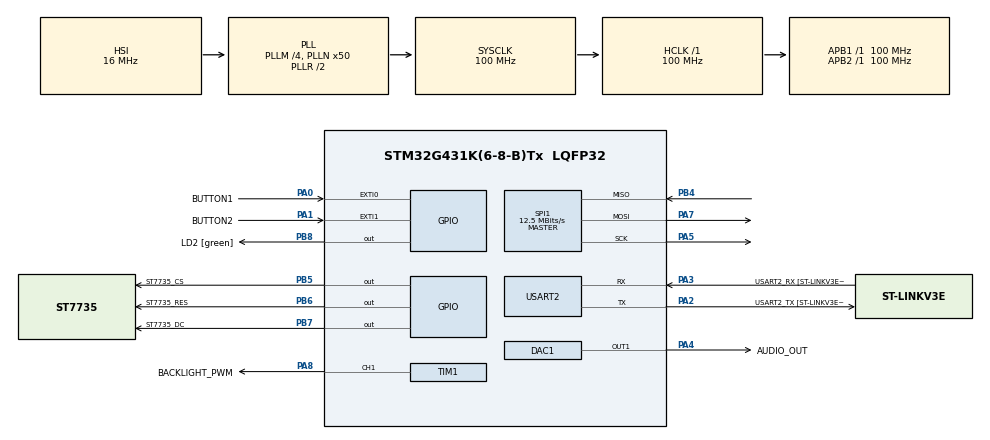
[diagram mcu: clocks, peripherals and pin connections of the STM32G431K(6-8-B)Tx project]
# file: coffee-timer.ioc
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DAC1.DAC_Trigger_OUT1-DAC_OUT1=DAC_TRIGGER_T2_TRGO
Dma.DAC1_CH1.0.Direction=DMA_MEMORY_TO_PERIPH
Dma.DAC1_CH1.0.EventEnable=DISABLE
Dma.DAC1_CH1.0.Instance=DMA1_Channel1
Dma.DAC1_CH1.0.MemDataAlignment=DMA_MDATAALIGN_BYTE
Dma.DAC1_CH1.0.MemInc=DMA_MINC_ENABLE
Dma.DAC1_CH1.0.Mode=DMA_NORMAL
Dma.DAC1_CH1.0.PeriphDataAlignment=DMA_PDATAALIGN_WORD
Dma.DAC1_CH1.0.PeriphInc=DMA_PINC_DISABLE
Dma.DAC1_CH1.0.Polarity=HAL_DMAMUX_REQ_GEN_RISING
Dma.DAC1_CH1.0.Priority=DMA_PRIORITY_LOW
Dma.DAC1_CH1.0.RequestNumber=1
Dma.DAC1_CH1.0.SignalID=NONE
Dma.DAC1_CH1.0.SyncEnable=DISABLE
Dma.DAC1_CH1.0.SyncPolarity=HAL_DMAMUX_SYNC_NO_EVENT
Dma.DAC1_CH1.0.SyncRequestNumber=1
Dma.DAC1_CH1.0.SyncSignalID=NONE
Dma.Request0=DAC1_CH1
Mcu.Family=STM32G4
Mcu.Name=STM32G431K(6-8-B)Tx
Mcu.Package=LQFP32
NVIC.DMA1_Channel1_IRQn=true\:0\:0\:false\:false\:true\:false\:true
NVIC.EXTI0_IRQn=true\:0\:0\:false\:true\:true\:1\:true\:false
NVIC.EXTI1_IRQn=true\:0\:0\:false\:true\:true\:2\:true\:false
NVIC.PriorityGroup=NVIC_PRIORITYGROUP_4
PA0.GPIO_Label=BUTTON1
PA0.GPIO_ModeDefaultEXTI=GPIO_MODE_IT_RISING_FALLING
PA0.GPIO_PuPd=GPIO_PULLDOWN
PA0.Signal=GPXTI0
PA1.GPIO_Label=BUTTON2
PA1.GPIO_ModeDefaultEXTI=GPIO_MODE_IT_RISING_FALLING
PA1.GPIO_PuPd=GPIO_PULLDOWN
PA1.Signal=GPXTI1
PA13.GPIO_Label=T_SWDIO
PA13.Mode=Serial_Wire
PA13.Signal=SYS_JTMS-SWDIO
PA14.GPIO_Label=T_SWCLK
PA14.Mode=Serial_Wire
PA14.Signal=SYS_JTCK-SWCLK
PA2.GPIO_Label=USART2_TX [ST-LINKV3E_VCP_RX]
PA2.Mode=Asynchronous
PA2.Signal=USART2_TX
PA3.GPIO_Label=USART2_RX [ST-LINKV3E_VCP_TX]
PA3.Mode=Asynchronous
PA3.Signal=USART2_RX
PA4.GPIO_Label=AUDIO_OUT
PA4.Signal=COMP_DAC11_group
PA5.GPIO_Speed=GPIO_SPEED_FREQ_HIGH
PA5.Mode=Full_Duplex_Master
PA5.Signal=SPI1_SCK
PA7.GPIO_Speed=GPIO_SPEED_FREQ_HIGH
PA7.Mode=Full_Duplex_Master
PA7.Signal=SPI1_MOSI
PA8.GPIO_Label=BACKLIGHT_PWM
PA8.Signal=S_TIM1_CH1
PB3.GPIO_Label=T_SWO
PB3.Signal=SYS_JTDO-SWO
PB4.GPIO_PuPd=GPIO_PULLDOWN
PB4.GPIO_Speed=GPIO_SPEED_FREQ_HIGH
PB4.Mode=Full_Duplex_Master
PB4.Signal=SPI1_MISO
PB5.GPIO_Label=ST7735_CS
PB5.GPIO_PuPd=GPIO_PULLUP
PB5.Signal=GPIO_Output
PB6.GPIO_Label=ST7735_RES
PB6.GPIO_PuPd=GPIO_PULLUP
PB6.Signal=GPIO_Output
PB7.GPIO_Label=ST7735_DC
PB7.Signal=GPIO_Output
PB8-BOOT0.GPIO_Label=LD2 [green]
PB8-BOOT0.Signal=GPIO_Output
ProjectManager.HeapSize=0x4000
ProjectManager.StackSize=0x400
ProjectManager.TargetToolchain=Makefile
RCC.ADC12Freq_Value=100000000
RCC.AHBFreq_Value=100000000
RCC.APB1Freq_Value=100000000
RCC.APB1TimFreq_Value=100000000
RCC.APB2Freq_Value=100000000
RCC.APB2TimFreq_Value=100000000
RCC.CK48CLockSelection=RCC_USBCLKSOURCE_HSI48
RCC.CortexFreq_Value=100000000
RCC.EXTERNAL_CLOCK_VALUE=12288000
RCC.HCLKFreq_Value=100000000
RCC.HSE_VALUE=8000000
RCC.HSI48_VALUE=48000000
RCC.HSI_VALUE=16000000
RCC.LSE_VALUE=32768
RCC.PLLM=RCC_PLLM_DIV4
RCC.PLLN=50
RCC.SYSCLKFreq_VALUE=100000000
RCC.SYSCLKSource=RCC_SYSCLKSOURCE_PLLCLK
RCC.USBFreq_Value=48000000
RCC.VCOOutputFreq_Value=200000000
SH.COMP_DAC11_group.0=DAC1_OUT1,DAC_OUT1
SH.S_TIM1_CH1.0=TIM1_CH1,PWM Generation1 CH1
SPI1.BaudRatePrescaler=SPI_BAUDRATEPRESCALER_8
SPI1.CRCCalculation=SPI_CRCCALCULATION_DISABLE
SPI1.CalculateBaudRate=12.5 MBits/s
SPI1.DataSize=SPI_DATASIZE_8BIT
SPI1.Direction=SPI_DIRECTION_2LINES
SPI1.Mode=SPI_MODE_MASTER
SPI1.NSSPMode=SPI_NSS_PULSE_DISABLE
SPI1.VirtualType=VM_MASTER
TIM1.Channel-PWM\ Generation1\ CH1=TIM_CHANNEL_1
TIM1.PeriodNoDither=16
TIM1.PulseNoDither_1=8
TIM2.CounterMode=TIM_COUNTERMODE_UP
TIM2.PeriodNoDither=99
TIM2.Prescaler=124
TIM2.TIM_MasterOutputTrigger=TIM_TRGO_UPDATE
USART2.VirtualMode-Asynchronous=VM_ASYNC
USART2.WordLength=WORDLENGTH_8B
VP_RTC_VS_RTC_Activate.Mode=RTC_Enabled
VP_RTC_VS_RTC_Calendar.Mode=RTC_Calendar
VP_SYS_VS_DBSignals.Mode=DisableDeadBatterySignals
VP_TIM1_VS_ClockSourceINT.Mode=Internal
VP_TIM2_VS_ClockSourceINT.Mode=Internal
board=NUCLEO-G431KB

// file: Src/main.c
/* USER CODE BEGIN Header */
/**
  ******************************************************************************
  * @file           : main.c
  * @brief          : Main program body
  ******************************************************************************
  * @attention
  *
  * <h2><center>&copy; Copyright (c) 2020 STMicroelectronics.
  * All rights reserved.</center></h2>
  *
  * This software component is licensed by ST under BSD 3-Clause license,
  * the "License"; You may not use this file except in compliance with the
  * License. You may obtain a copy of the License at:
  *                        opensource.org/licenses/BSD-3-Clause
  *
  ******************************************************************************
  */
/* USER CODE END Header */

#include "main.h"

/* USER CODE BEGIN Includes */

#include <stdio.h>
#include <string.h>
#include "st7735.h"

/* USER CODE END Includes */

DAC_HandleTypeDef hdac1;
DMA_HandleTypeDef hdma_dac1_ch1;

RTC_HandleTypeDef hrtc;

SPI_HandleTypeDef hspi1;

TIM_HandleTypeDef htim1;
TIM_HandleTypeDef htim2;

UART_HandleTypeDef huart2;

/* USER CODE BEGIN PV */

int __io_putchar(int ch)
{
    HAL_UART_Transmit(&huart2, (uint8_t *)&ch, 1, HAL_MAX_DELAY);
    return ch;
}

/* USER CODE END PV */

void SystemClock_Config(void);
static void MX_GPIO_Init(void);
static void MX_USART2_UART_Init(void);
static void MX_DMA_Init(void);
static void MX_DAC1_Init(void);
static void MX_SPI1_Init(void);
static void MX_TIM1_Init(void);
static void MX_TIM2_Init(void);
static void MX_RTC_Init(void);
static void MX_NVIC_Init(void);

/* USER CODE BEGIN 0 */

#define BUTTON_MEASURE_MILLIS 50

int button1_changed = 0;
uint32_t button1_changed_millis = 0;
int button2_changed = 0;
uint32_t button2_changed_millis = 0;

void BUTTON1_IRQ_Callback()
{
    if(!button1_changed) {
        button1_changed = 1;
        button1_changed_millis = HAL_GetTick();
    }
    __HAL_GPIO_EXTI_CLEAR_IT(BUTTON1_Pin);
    NVIC_ClearPendingIRQ(EXTI0_IRQn);
}

void BUTTON2_IRQ_Callback()
{
    if(!button2_changed) {
        button2_changed = 1;
        button2_changed_millis = HAL_GetTick();
    }
    __HAL_GPIO_EXTI_CLEAR_IT(BUTTON2_Pin);
    NVIC_ClearPendingIRQ(EXTI1_IRQn);
}

char printbuffer[128];

void hello()
{
  for(int i = 0; i < 2; i++) {
      for(int j = 0; j < 2000000; j++)
          HAL_GPIO_WritePin(LD2_GPIO_Port, LD2_Pin, GPIO_PIN_SET);
      for(int j = 0; j < 2000000; j++)
          HAL_GPIO_WritePin(LD2_GPIO_Port, LD2_Pin, GPIO_PIN_RESET);
  }
  sprintf(printbuffer, "hello there!\n");
  HAL_UART_Transmit(&huart2, (uint8_t *)printbuffer, strlen(printbuffer), HAL_MAX_DELAY);
}

extern void ButtonPress(int button, uint32_t when);
extern void ButtonRelease(int button, uint32_t when);
extern int ProcessEvents(uint32_t now);
extern void InitPlatform();

int DMAcomplete = 0;
int DACerror = 0;

void HAL_DAC_ConvCpltCallbackCh1(DAC_HandleTypeDef *hdac)
{
    DMAcomplete = 1;
}

void HAL_DAC_ErrorCallbackCh1(DAC_HandleTypeDef *hdac)
{
    DACerror = 1;
}

// It turns out that the destination size must be set to WORD.
// https://community.st.com/s/question/0D50X0000BEXUjVSQX/haldacstartdma-stops-on-start-calling-haldacerrorcallbackch1
void DACPlay(const uint8_t *samples, size_t sampleCount)
{
    HAL_StatusTypeDef status;

    printf("playing audio with HAL_DAC_Start_DMA...\n");
    printf("before DMA1_Channel1->CCR %08lX\n", DMA1_Channel1->CCR);
    printf("before DMA1->ISR %08lX\n", DMA1->ISR);

    status = HAL_DAC_Start_DMA (&hdac1, DAC_CHANNEL_1, (uint32_t*)samples, sampleCount, DAC_ALIGN_8B_R);
    if(status != HAL_OK) {
        printf("HAL_DAC_Start_DMA status %d\n", status);
    }
    // DMA1_Channel1->CCR |= 1;
    // DMA1_Channel1->CCR |= 0x20;
    printf("after DMA1_Channel1->CCR %08lX\n", DMA1_Channel1->CCR);
    printf("after DMA1->ISR %08lX\n", DMA1->ISR);
}

void SysDrawBitmap(int x, int y, const uint8_t* bits, int w, int h, int rowBytes, uint16_t fg, uint16_t bg)
{
    ST7735_DrawImageMonoRB(x, y, bits, w, h, rowBytes, fg, bg);
}

void SysDrawRect(int x, int y, int w, int h, uint16_t color)
{
    ST7735_FillRectangle(x, y, w, h, color);
}

/* USER CODE END 0 */

int main(void)
{

  /* MCU Configuration--------------------------------------------------------*/

  /* Reset of all peripherals, Initializes the Flash interface and the Systick. */
  HAL_Init();

  /* Configure the system clock */
  SystemClock_Config();

  /* Initialize all configured peripherals */
  MX_GPIO_Init();
  MX_USART2_UART_Init();
  MX_DMA_Init();
  MX_DAC1_Init();
  MX_SPI1_Init();
  MX_TIM1_Init();
  MX_TIM2_Init();
  MX_RTC_Init();

  /* Initialize interrupts */
  MX_NVIC_Init();
  /* USER CODE BEGIN 2 */

  ST7735_Init();

  hello();

  HAL_StatusTypeDef status;

  status = HAL_TIM_Base_Start(&htim2);
  if(status != HAL_OK) {
      printf("HAL_TIM_Base_Start status %d\n", status);
  }

  InitPlatform();
  /* USER CODE END 2 */

  /* Infinite loop */
  while (1)
  {

    /* USER CODE BEGIN 3 */
    if(DMAcomplete) {
        printf("DMA was completed.\n");
        DMAcomplete = 0;
    }
    if(DACerror) {
        printf("DAC transfer had error.\n");
        DACerror = 1;
    }
    // printf("%lu\n", DMA1_Channel1->CNDTR);
    // printf("DAC1->CR %08lX\n", DAC1->CR); // verified as expected
    // printf("&DAC1->DHR8R1 %p\n", &DAC1->DHR8R1); // verified as expected
    // printf("DMA1_Channel1->CR %08lX\n", DMA1_Channel1->CCR); // verified as expected is TIMER2_TRGO
    // printf("CPAR %08lX\n", DMA1_Channel1->CPAR); // verified as expected
    // printf("CMAR %08lX\n", DMA1_Channel1->CMAR); // verified as expected
    static uint16_t b = 0;
    // DAC1->DHR8R1 = (b >> 3) & 0xff;
    b++;

    uint32_t now_millis = HAL_GetTick();

    if(0) {
        if((HAL_GPIO_ReadPin(BUTTON1_GPIO_Port, BUTTON1_Pin) != GPIO_PIN_RESET) ||
          (HAL_GPIO_ReadPin(BUTTON2_GPIO_Port, BUTTON2_Pin) != GPIO_PIN_RESET)) {

            HAL_GPIO_WritePin(LD2_GPIO_Port, LD2_Pin, GPIO_PIN_SET);

        } else {

            HAL_GPIO_WritePin(LD2_GPIO_Port, LD2_Pin, GPIO_PIN_RESET);

        }
    }

    if(button1_changed) {
        HAL_GPIO_WritePin(LD2_GPIO_Port, LD2_Pin, GPIO_PIN_SET);
        uint32_t duration = now_millis - button1_changed_millis;

        if(duration > BUTTON_MEASURE_MILLIS) {
            if(HAL_GPIO_ReadPin(BUTTON1_GPIO_Port, BUTTON1_Pin) == GPIO_PIN_SET) {
                ButtonPress(1, button1_changed_millis);
            } else {
                ButtonRelease(1, button1_changed_millis);
            }
            button1_changed = 0;
        }
    }

    if(button2_changed) {
        HAL_GPIO_WritePin(LD2_GPIO_Port, LD2_Pin, GPIO_PIN_SET);
        uint32_t duration = now_millis - button2_changed_millis;

        if(duration > BUTTON_MEASURE_MILLIS) {
            if(HAL_GPIO_ReadPin(BUTTON2_GPIO_Port, BUTTON2_Pin) == GPIO_PIN_SET) {
                ButtonPress(2, button2_changed_millis);
            } else {
                ButtonRelease(2, button2_changed_millis);
            }
            button2_changed = 0;
        }
    }

    int enterDeepSleep = ProcessEvents(now_millis);

    if(enterDeepSleep) {
        /* deep sleep here */
    }
  }
  /* USER CODE END 3 */
}

void SystemClock_Config(void)
{
  RCC_OscInitTypeDef RCC_OscInitStruct = {0};
  RCC_ClkInitTypeDef RCC_ClkInitStruct = {0};
  RCC_PeriphCLKInitTypeDef PeriphClkInit = {0};

  /** Configure the main internal regulator output voltage
  */
  HAL_PWREx_ControlVoltageScaling(PWR_REGULATOR_VOLTAGE_SCALE1);
  /** Initializes the CPU, AHB and APB busses clocks
  */
  RCC_OscInitStruct.OscillatorType = RCC_OSCILLATORTYPE_HSI|RCC_OSCILLATORTYPE_LSI;
  RCC_OscInitStruct.HSIState = RCC_HSI_ON;
  RCC_OscInitStruct.HSICalibrationValue = RCC_HSICALIBRATION_DEFAULT;
  RCC_OscInitStruct.LSIState = RCC_LSI_ON;
  RCC_OscInitStruct.PLL.PLLState = RCC_PLL_ON;
  RCC_OscInitStruct.PLL.PLLSource = RCC_PLLSOURCE_HSI;
  RCC_OscInitStruct.PLL.PLLM = RCC_PLLM_DIV4;
  RCC_OscInitStruct.PLL.PLLN = 50;
  RCC_OscInitStruct.PLL.PLLP = RCC_PLLP_DIV2;
  RCC_OscInitStruct.PLL.PLLQ = RCC_PLLQ_DIV2;
  RCC_OscInitStruct.PLL.PLLR = RCC_PLLR_DIV2;
  if (HAL_RCC_OscConfig(&RCC_OscInitStruct) != HAL_OK)
  {
    Error_Handler();
  }
  /** Initializes the CPU, AHB and APB busses clocks
  */
  RCC_ClkInitStruct.ClockType = RCC_CLOCKTYPE_HCLK|RCC_CLOCKTYPE_SYSCLK
                              |RCC_CLOCKTYPE_PCLK1|RCC_CLOCKTYPE_PCLK2;
  RCC_ClkInitStruct.SYSCLKSource = RCC_SYSCLKSOURCE_PLLCLK;
  RCC_ClkInitStruct.AHBCLKDivider = RCC_SYSCLK_DIV1;
  RCC_ClkInitStruct.APB1CLKDivider = RCC_HCLK_DIV1;
  RCC_ClkInitStruct.APB2CLKDivider = RCC_HCLK_DIV1;

  if (HAL_RCC_ClockConfig(&RCC_ClkInitStruct, FLASH_LATENCY_4) != HAL_OK)
  {
    Error_Handler();
  }
  /** Initializes the peripherals clocks
  */
  PeriphClkInit.PeriphClockSelection = RCC_PERIPHCLK_RTC|RCC_PERIPHCLK_USART2;
  PeriphClkInit.Usart2ClockSelection = RCC_USART2CLKSOURCE_PCLK1;
  PeriphClkInit.RTCClockSelection = RCC_RTCCLKSOURCE_LSI;

  if (HAL_RCCEx_PeriphCLKConfig(&PeriphClkInit) != HAL_OK)
  {
    Error_Handler();
  }
}

/**
  * @brief NVIC Configuration.
  * @retval None
  */
static void MX_NVIC_Init(void)
{
  /* EXTI0_IRQn interrupt configuration */
  HAL_NVIC_SetPriority(EXTI0_IRQn, 0, 0);
  HAL_NVIC_EnableIRQ(EXTI0_IRQn);
  /* EXTI1_IRQn interrupt configuration */
  HAL_NVIC_SetPriority(EXTI1_IRQn, 0, 0);
  HAL_NVIC_EnableIRQ(EXTI1_IRQn);
}

static void MX_DAC1_Init(void)
{

  DAC_ChannelConfTypeDef sConfig = {0};

  /** DAC Initialization
  */
  hdac1.Instance = DAC1;
  if (HAL_DAC_Init(&hdac1) != HAL_OK)
  {
    Error_Handler();
  }
  /** DAC channel OUT1 config
  */
  sConfig.DAC_HighFrequency = DAC_HIGH_FREQUENCY_INTERFACE_MODE_AUTOMATIC;
  sConfig.DAC_DMADoubleDataMode = DISABLE;
  sConfig.DAC_SignedFormat = DISABLE;
  sConfig.DAC_SampleAndHold = DAC_SAMPLEANDHOLD_DISABLE;
  sConfig.DAC_Trigger = DAC_TRIGGER_T2_TRGO;
  sConfig.DAC_Trigger2 = DAC_TRIGGER_NONE;
  sConfig.DAC_OutputBuffer = DAC_OUTPUTBUFFER_ENABLE;
  sConfig.DAC_ConnectOnChipPeripheral = DAC_CHIPCONNECT_DISABLE;
  sConfig.DAC_UserTrimming = DAC_TRIMMING_FACTORY;
  if (HAL_DAC_ConfigChannel(&hdac1, &sConfig, DAC_CHANNEL_1) != HAL_OK)
  {
    Error_Handler();
  }

}

static void MX_RTC_Init(void)
{

  RTC_TimeTypeDef sTime = {0};
  RTC_DateTypeDef sDate = {0};

  /** Initialize RTC Only
  */
  hrtc.Instance = RTC;
  hrtc.Init.HourFormat = RTC_HOURFORMAT_24;
  hrtc.Init.AsynchPrediv = 127;
  hrtc.Init.SynchPrediv = 255;
  hrtc.Init.OutPut = RTC_OUTPUT_DISABLE;
  hrtc.Init.OutPutRemap = RTC_OUTPUT_REMAP_NONE;
  hrtc.Init.OutPutPullUp = RTC_OUTPUT_PULLUP_NONE;
  if (HAL_RTC_Init(&hrtc) != HAL_OK)
  {
    Error_Handler();
  }

  /** Initialize RTC and set the Time and Date
  */
  sTime.Hours = 0x0;
  sTime.Minutes = 0x0;
  sTime.Seconds = 0x0;
  sTime.SubSeconds = 0x0;
  sTime.DayLightSaving = RTC_DAYLIGHTSAVING_NONE;
  sTime.StoreOperation = RTC_STOREOPERATION_RESET;
  if (HAL_RTC_SetTime(&hrtc, &sTime, RTC_FORMAT_BCD) != HAL_OK)
  {
    Error_Handler();
  }
  sDate.WeekDay = RTC_WEEKDAY_MONDAY;
  sDate.Month = RTC_MONTH_JANUARY;
  sDate.Date = 0x1;
  sDate.Year = 0x0;

  if (HAL_RTC_SetDate(&hrtc, &sDate, RTC_FORMAT_BCD) != HAL_OK)
  {
    Error_Handler();
  }

}

static void MX_SPI1_Init(void)
{

  /* SPI1 parameter configuration*/
  hspi1.Instance = SPI1;
  hspi1.Init.Mode = SPI_MODE_MASTER;
  hspi1.Init.Direction = SPI_DIRECTION_2LINES;
  hspi1.Init.DataSize = SPI_DATASIZE_8BIT;
  hspi1.Init.CLKPolarity = SPI_POLARITY_LOW;
  hspi1.Init.CLKPhase = SPI_PHASE_1EDGE;
  hspi1.Init.NSS = SPI_NSS_SOFT;
  hspi1.Init.BaudRatePrescaler = SPI_BAUDRATEPRESCALER_8;
  hspi1.Init.FirstBit = SPI_FIRSTBIT_MSB;
  hspi1.Init.TIMode = SPI_TIMODE_DISABLE;
  hspi1.Init.CRCCalculation = SPI_CRCCALCULATION_DISABLE;
  hspi1.Init.CRCPolynomial = 7;
  hspi1.Init.CRCLength = SPI_CRC_LENGTH_DATASIZE;
  hspi1.Init.NSSPMode = SPI_NSS_PULSE_DISABLE;
  if (HAL_SPI_Init(&hspi1) != HAL_OK)
  {
    Error_Handler();
  }

}

static void MX_TIM1_Init(void)
{

  TIM_ClockConfigTypeDef sClockSourceConfig = {0};
  TIM_MasterConfigTypeDef sMasterConfig = {0};
  TIM_OC_InitTypeDef sConfigOC = {0};
  TIM_BreakDeadTimeConfigTypeDef sBreakDeadTimeConfig = {0};

  htim1.Instance = TIM1;
  htim1.Init.Prescaler = 0;
  htim1.Init.CounterMode = TIM_COUNTERMODE_UP;
  htim1.Init.Period = 16;
  htim1.Init.ClockDivision = TIM_CLOCKDIVISION_DIV1;
  htim1.Init.RepetitionCounter = 0;
  htim1.Init.AutoReloadPreload = TIM_AUTORELOAD_PRELOAD_DISABLE;
  if (HAL_TIM_Base_Init(&htim1) != HAL_OK)
  {
    Error_Handler();
  }
  sClockSourceConfig.ClockSource = TIM_CLOCKSOURCE_INTERNAL;
  if (HAL_TIM_ConfigClockSource(&htim1, &sClockSourceConfig) != HAL_OK)
  {
    Error_Handler();
  }
  if (HAL_TIM_PWM_Init(&htim1) != HAL_OK)
  {
    Error_Handler();
  }
  sMasterConfig.MasterOutputTrigger = TIM_TRGO_RESET;
  sMasterConfig.MasterOutputTrigger2 = TIM_TRGO2_RESET;
  sMasterConfig.MasterSlaveMode = TIM_MASTERSLAVEMODE_DISABLE;
  if (HAL_TIMEx_MasterConfigSynchronization(&htim1, &sMasterConfig) != HAL_OK)
  {
    Error_Handler();
  }
  sConfigOC.OCMode = TIM_OCMODE_PWM1;
  sConfigOC.Pulse = 8;
  sConfigOC.OCPolarity = TIM_OCPOLARITY_HIGH;
  sConfigOC.OCNPolarity = TIM_OCNPOLARITY_HIGH;
  sConfigOC.OCFastMode = TIM_OCFAST_DISABLE;
  sConfigOC.OCIdleState = TIM_OCIDLESTATE_RESET;
  sConfigOC.OCNIdleState = TIM_OCNIDLESTATE_RESET;
  if (HAL_TIM_PWM_ConfigChannel(&htim1, &sConfigOC, TIM_CHANNEL_1) != HAL_OK)
  {
    Error_Handler();
  }
  sBreakDeadTimeConfig.OffStateRunMode = TIM_OSSR_DISABLE;
  sBreakDeadTimeConfig.OffStateIDLEMode = TIM_OSSI_DISABLE;
  sBreakDeadTimeConfig.LockLevel = TIM_LOCKLEVEL_OFF;
  sBreakDeadTimeConfig.DeadTime = 0;
  sBreakDeadTimeConfig.BreakState = TIM_BREAK_DISABLE;
  sBreakDeadTimeConfig.BreakPolarity = TIM_BREAKPOLARITY_HIGH;
  sBreakDeadTimeConfig.BreakFilter = 0;
  sBreakDeadTimeConfig.BreakAFMode = TIM_BREAK_AFMODE_INPUT;
  sBreakDeadTimeConfig.Break2State = TIM_BREAK2_DISABLE;
  sBreakDeadTimeConfig.Break2Polarity = TIM_BREAK2POLARITY_HIGH;
  sBreakDeadTimeConfig.Break2Filter = 0;
  sBreakDeadTimeConfig.Break2AFMode = TIM_BREAK_AFMODE_INPUT;
  sBreakDeadTimeConfig.AutomaticOutput = TIM_AUTOMATICOUTPUT_DISABLE;
  if (HAL_TIMEx_ConfigBreakDeadTime(&htim1, &sBreakDeadTimeConfig) != HAL_OK)
  {
    Error_Handler();
  }
  HAL_TIM_MspPostInit(&htim1);

}

static void MX_TIM2_Init(void)
{

  TIM_ClockConfigTypeDef sClockSourceConfig = {0};
  TIM_MasterConfigTypeDef sMasterConfig = {0};

  htim2.Instance = TIM2;
  htim2.Init.Prescaler = 124;
  htim2.Init.CounterMode = TIM_COUNTERMODE_UP;
  htim2.Init.Period = 99;
  htim2.Init.ClockDivision = TIM_CLOCKDIVISION_DIV1;
  htim2.Init.AutoReloadPreload = TIM_AUTORELOAD_PRELOAD_DISABLE;
  if (HAL_TIM_Base_Init(&htim2) != HAL_OK)
  {
    Error_Handler();
  }
  sClockSourceConfig.ClockSource = TIM_CLOCKSOURCE_INTERNAL;
  if (HAL_TIM_ConfigClockSource(&htim2, &sClockSourceConfig) != HAL_OK)
  {
    Error_Handler();
  }
  sMasterConfig.MasterOutputTrigger = TIM_TRGO_UPDATE;
  sMasterConfig.MasterSlaveMode = TIM_MASTERSLAVEMODE_DISABLE;
  if (HAL_TIMEx_MasterConfigSynchronization(&htim2, &sMasterConfig) != HAL_OK)
  {
    Error_Handler();
  }

}

static void MX_USART2_UART_Init(void)
{

  huart2.Instance = USART2;
  huart2.Init.BaudRate = 115200;
  huart2.Init.WordLength = UART_WORDLENGTH_8B;
  huart2.Init.StopBits = UART_STOPBITS_1;
  huart2.Init.Parity = UART_PARITY_NONE;
  huart2.Init.Mode = UART_MODE_TX_RX;
  huart2.Init.HwFlowCtl = UART_HWCONTROL_NONE;
  huart2.Init.OverSampling = UART_OVERSAMPLING_16;
  huart2.Init.OneBitSampling = UART_ONE_BIT_SAMPLE_DISABLE;
  huart2.Init.ClockPrescaler = UART_PRESCALER_DIV1;
  huart2.AdvancedInit.AdvFeatureInit = UART_ADVFEATURE_NO_INIT;
  if (HAL_UART_Init(&huart2) != HAL_OK)
  {
    Error_Handler();
  }
  if (HAL_UARTEx_SetTxFifoThreshold(&huart2, UART_TXFIFO_THRESHOLD_1_8) != HAL_OK)
  {
    Error_Handler();
  }
  if (HAL_UARTEx_SetRxFifoThreshold(&huart2, UART_RXFIFO_THRESHOLD_1_8) != HAL_OK)
  {
    Error_Handler();
  }
  if (HAL_UARTEx_DisableFifoMode(&huart2) != HAL_OK)
  {
    Error_Handler();
  }

}

static void MX_DMA_Init(void)
{

  /* DMA controller clock enable */
  __HAL_RCC_DMAMUX1_CLK_ENABLE();
  __HAL_RCC_DMA1_CLK_ENABLE();

  /* DMA interrupt init */
  /* DMA1_Channel1_IRQn interrupt configuration */
  HAL_NVIC_SetPriority(DMA1_Channel1_IRQn, 0, 0);
  HAL_NVIC_EnableIRQ(DMA1_Channel1_IRQn);

}

static void MX_GPIO_Init(void)
{
  GPIO_InitTypeDef GPIO_InitStruct = {0};

  /* GPIO Ports Clock Enable */
  __HAL_RCC_GPIOA_CLK_ENABLE();
  __HAL_RCC_GPIOB_CLK_ENABLE();

  /*Configure GPIO pin Output Level */
  HAL_GPIO_WritePin(GPIOB, ST7735_CS_Pin|ST7735_RES_Pin|ST7735_DC_Pin|LD2_Pin, GPIO_PIN_RESET);

  /*Configure GPIO pins : BUTTON1_Pin BUTTON2_Pin */
  GPIO_InitStruct.Pin = BUTTON1_Pin|BUTTON2_Pin;
  GPIO_InitStruct.Mode = GPIO_MODE_IT_RISING_FALLING;
  GPIO_InitStruct.Pull = GPIO_PULLDOWN;
  HAL_GPIO_Init(GPIOA, &GPIO_InitStruct);

  /*Configure GPIO pins : ST7735_CS_Pin ST7735_RES_Pin */
  GPIO_InitStruct.Pin = ST7735_CS_Pin|ST7735_RES_Pin;
  GPIO_InitStruct.Mode = GPIO_MODE_OUTPUT_PP;
  GPIO_InitStruct.Pull = GPIO_PULLUP;
  GPIO_InitStruct.Speed = GPIO_SPEED_FREQ_LOW;
  HAL_GPIO_Init(GPIOB, &GPIO_InitStruct);

  /*Configure GPIO pins : ST7735_DC_Pin LD2_Pin */
  GPIO_InitStruct.Pin = ST7735_DC_Pin|LD2_Pin;
  GPIO_InitStruct.Mode = GPIO_MODE_OUTPUT_PP;
  GPIO_InitStruct.Pull = GPIO_NOPULL;
  GPIO_InitStruct.Speed = GPIO_SPEED_FREQ_LOW;
  HAL_GPIO_Init(GPIOB, &GPIO_InitStruct);

}

void Error_Handler(void)
{
  /* USER CODE BEGIN Error_Handler_Debug */
  /* User can add his own implementation to report the HAL error return state */
  while(1) {
      for(int i = 0; i < 2; i++) {
          for(int j = 0; j < 2000000; j++)
              HAL_GPIO_WritePin(LD2_GPIO_Port, LD2_Pin, GPIO_PIN_SET);
          for(int j = 0; j < 2000000; j++)
              HAL_GPIO_WritePin(LD2_GPIO_Port, LD2_Pin, GPIO_PIN_RESET);
      }
  }

  /* USER CODE END Error_Handler_Debug */
}

/************************ (C) COPYRIGHT STMicroelectronics *****END OF FILE****/
